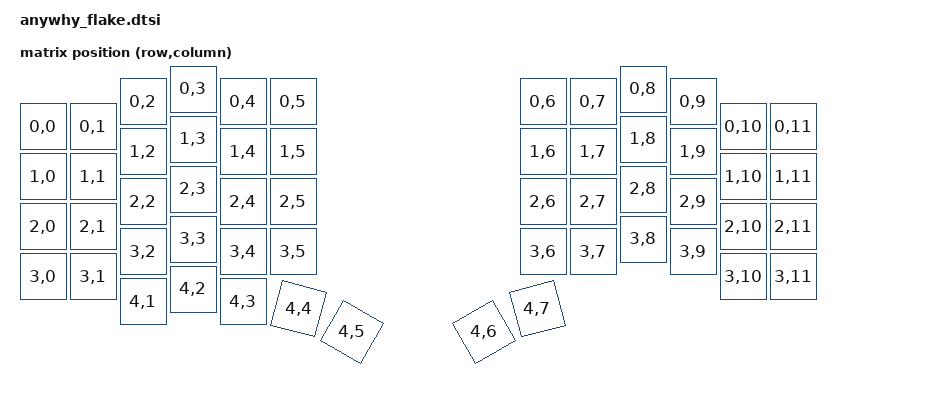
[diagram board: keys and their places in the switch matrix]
#include <dt-bindings/zmk/matrix_transform.h>
#include <physical_layouts.dtsi>
#include <dt-bindings/zmk/input_transform.h>
#include <dt-bindings/zmk/pointing.h>
#include <input/processors.dtsi>

/ {
    kscan0: kscan0 {
        diode-direction = "col2row";
    };

    chosen {
        zmk,kscan = &kscan0;
        zmk,physical-layout = &large_layout;
    };

    large_layout: large_layout {
        compatible = "zmk,physical-layout";
        display-name = "Flake L Layout";
        transform = <&large_transform>;

        keys  //                     w   h    x    y     rot    rx    ry
            = <&key_physical_attrs 100 100    0   75       0     0     0>
            , <&key_physical_attrs 100 100  100   75       0     0     0>
            , <&key_physical_attrs 100 100  200   25       0     0     0>
            , <&key_physical_attrs 100 100  300    0       0     0     0>
            , <&key_physical_attrs 100 100  400   25       0     0     0>
            , <&key_physical_attrs 100 100  500   25       0     0     0>
            , <&key_physical_attrs 100 100 1000   25       0     0     0>
            , <&key_physical_attrs 100 100 1100   25       0     0     0>
            , <&key_physical_attrs 100 100 1200    0       0     0     0>
            , <&key_physical_attrs 100 100 1300   25       0     0     0>
            , <&key_physical_attrs 100 100 1400   75       0     0     0>
            , <&key_physical_attrs 100 100 1500   75       0     0     0>
            , <&key_physical_attrs 100 100    0  175       0     0     0>
            , <&key_physical_attrs 100 100  100  175       0     0     0>
            , <&key_physical_attrs 100 100  200  125       0     0     0>
            , <&key_physical_attrs 100 100  300  100       0     0     0>
            , <&key_physical_attrs 100 100  400  125       0     0     0>
            , <&key_physical_attrs 100 100  500  125       0     0     0>
            , <&key_physical_attrs 100 100 1000  125       0     0     0>
            , <&key_physical_attrs 100 100 1100  125       0     0     0>
            , <&key_physical_attrs 100 100 1200  100       0     0     0>
            , <&key_physical_attrs 100 100 1300  125       0     0     0>
            , <&key_physical_attrs 100 100 1400  175       0     0     0>
            , <&key_physical_attrs 100 100 1500  175       0     0     0>
            , <&key_physical_attrs 100 100    0  275       0     0     0>
            , <&key_physical_attrs 100 100  100  275       0     0     0>
            , <&key_physical_attrs 100 100  200  225       0     0     0>
            , <&key_physical_attrs 100 100  300  200       0     0     0>
            , <&key_physical_attrs 100 100  400  225       0     0     0>
            , <&key_physical_attrs 100 100  500  225       0     0     0>
            , <&key_physical_attrs 100 100 1000  225       0     0     0>
            , <&key_physical_attrs 100 100 1100  225       0     0     0>
            , <&key_physical_attrs 100 100 1200  200       0     0     0>
            , <&key_physical_attrs 100 100 1300  225       0     0     0>
            , <&key_physical_attrs 100 100 1400  275       0     0     0>
            , <&key_physical_attrs 100 100 1500  275       0     0     0>
            , <&key_physical_attrs 100 100    0  375       0     0     0>
            , <&key_physical_attrs 100 100  100  375       0     0     0>
            , <&key_physical_attrs 100 100  200  325       0     0     0>
            , <&key_physical_attrs 100 100  300  300       0     0     0>
            , <&key_physical_attrs 100 100  400  325       0     0     0>
            , <&key_physical_attrs 100 100  500  325       0     0     0>
            , <&key_physical_attrs 100 100 1000  325       0     0     0>
            , <&key_physical_attrs 100 100 1100  325       0     0     0>
            , <&key_physical_attrs 100 100 1200  300       0     0     0>
            , <&key_physical_attrs 100 100 1300  325       0     0     0>
            , <&key_physical_attrs 100 100 1400  375       0     0     0>
            , <&key_physical_attrs 100 100 1500  375       0     0     0>
            , <&key_physical_attrs 100 100  200  425       0     0     0>
            , <&key_physical_attrs 100 100  300  400       0     0     0>
            , <&key_physical_attrs 100 100  400  425       0     0     0>
            , <&key_physical_attrs 100 100  500  425    1500   500   525>
            , <&key_physical_attrs 100 100  600  470    3000   630   560>
            , <&key_physical_attrs 100 100  900  470 (-3000)   970   560>
            , <&key_physical_attrs 100 100 1000  425 (-1500)  1100   525>
            ;
    };

    large_transform: large_transform {
        compatible = "zmk,matrix-transform";
        columns = <12>;
        rows = <5>;
        map = <
RC(0,0) RC(0,1) RC(0,2) RC(0,3) RC(0,4) RC(0,5)  RC(0,6) RC(0,7) RC(0,8) RC(0,9) RC(0,10) RC(0,11)
RC(1,0) RC(1,1) RC(1,2) RC(1,3) RC(1,4) RC(1,5)  RC(1,6) RC(1,7) RC(1,8) RC(1,9) RC(1,10) RC(1,11)
RC(2,0) RC(2,1) RC(2,2) RC(2,3) RC(2,4) RC(2,5)  RC(2,6) RC(2,7) RC(2,8) RC(2,9) RC(2,10) RC(2,11)
RC(3,0) RC(3,1) RC(3,2) RC(3,3) RC(3,4) RC(3,5)  RC(3,6) RC(3,7) RC(3,8) RC(3,9) RC(3,10) RC(3,11)
        RC(4,1) RC(4,2) RC(4,3) RC(4,4) RC(4,5)  RC(4,6) RC(4,7)
        >;
    };

    position_map {
        compatible = "zmk,physical-layout-position-map";

        complete;

        large_layout {
            physical-layout = <&large_layout>;
            positions
                = < 0  1  2  3  4  5  6  7  8  9 10 11>
                , <12 13 14 15 16 17 18 19 20 21 22 23>
                , <24 25 26 27 28 29 30 31 32 33 34 35>
                , <36 37 38 39 40 41 42 43 44 45 46 47>
                , <   48 49 50 51 52 53 54            >
                ;
        };

    };

};

/{
    esb_split {
        compatible = "zmk,esb-split";
        // These are arbitrary default addresses. In end user products
        // different addresses should be used for each set of devices.
        base-addr-0 = <0xE7 0xE7 0xE7 0xE7>;
        base-addr-1 = <0xC2 0xC2 0xC2 0xC2>;
        addr-prefix = <0xE7 0xC2 0xC3 0xC4 0xC5 0xC6 0xC7 0xC8>;
    };
};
